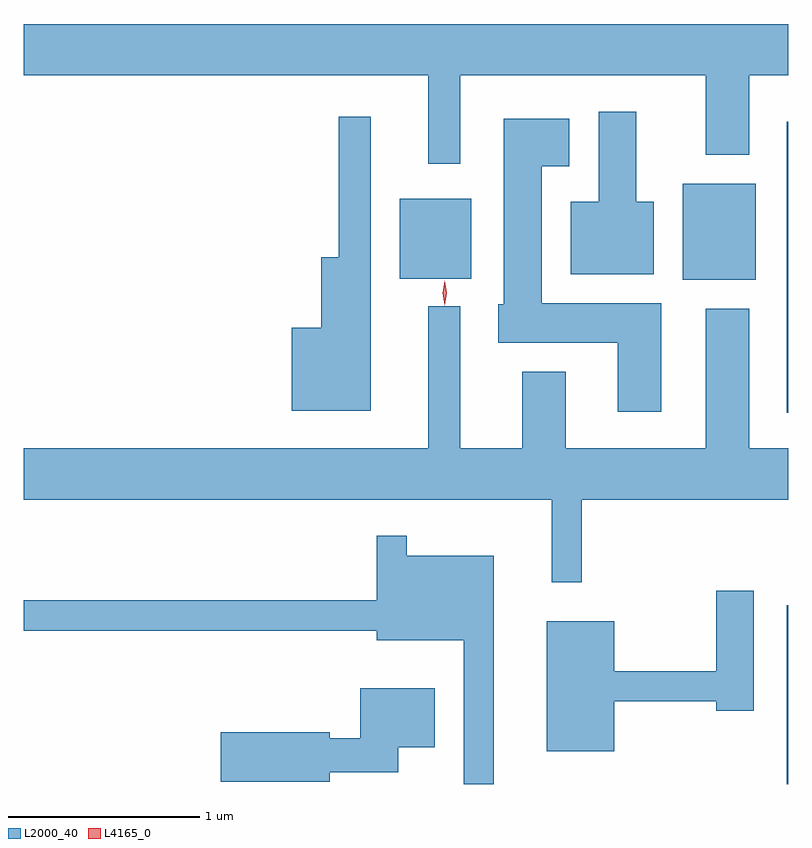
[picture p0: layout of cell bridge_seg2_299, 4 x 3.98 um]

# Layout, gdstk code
import gdstk
lib = gdstk.Library(unit=1e-6, precision=1e-09)
def R(c, l, rs):  # rectangles x0, y0, x1, y1
    for r in rs: c.add(gdstk.rectangle(r[:2], r[2:], *l))
def P(c, l, *ps):  # polygons
    for p in ps: c.add(gdstk.Polygon(p, *l))
L2000_40 = (2000, 40)
L4165_0 = (4165, 0)

bridge_seg2_299 = lib.new_cell('bridge_seg2_299')
R(bridge_seg2_299, L2000_40, [(468.006,1077.909,468.014,1078.844), (468.006,1079.851,468.014,1081.374), (467.461,1080.546,467.844,1081.049), (465.981,1080.551,466.354,1080.969)])
P(bridge_seg2_299, L2000_40, [(466.299,1081.616),(467.581,1081.616),(467.581,1081.201),(467.809,1081.201),(467.809,1081.616),(468.014,1081.616),(468.014,1081.884),(464.014,1081.884),(464.014,1081.616),(466.131,1081.616),(466.131,1081.153),(466.299,1081.153)],
  [(467.309,1080.954),(467.219,1080.954),(467.219,1081.424),(467.021,1081.424),(467.021,1080.954),(466.876,1080.954),(466.876,1080.576),(467.309,1080.576)],
  [(465.829,1081.398),(465.661,1081.398),(465.661,1080.664),(465.571,1080.664),(465.571,1080.294),(465.416,1080.294),(465.416,1079.861),(465.829,1079.861)],
  [(467.349,1080.424),(466.724,1080.424),(466.724,1081.141),(466.869,1081.141),(466.869,1081.389),(466.526,1081.389),(466.526,1080.419),(466.496,1080.419),(466.496,1080.216),(467.121,1080.216),(467.121,1079.856),(467.349,1079.856)],
  [(466.934,1079.396),(468.014,1079.396),(468.014,1079.664),(467.809,1079.664),(467.809,1080.394),(467.581,1080.394),(467.581,1079.664),(466.849,1079.664),(466.849,1080.064),(466.621,1080.064),(466.621,1079.664),(466.299,1079.664),(466.299,1080.408),(466.131,1080.408),(466.131,1079.664),(464.014,1079.664),(464.014,1079.396),(466.776,1079.396),(466.776,1078.963),(466.934,1078.963)],
  [(466.474,1079.104),(466.019,1079.104),(466.019,1079.208),(465.861,1079.208),(465.861,1078.869),(464.014,1078.869),(464.014,1078.711),(465.861,1078.711),(465.861,1078.661),(466.316,1078.661),(466.316,1077.909),(466.474,1077.909)],
  [(467.104,1078.341),(467.636,1078.341),(467.636,1078.291),(467.834,1078.291),(467.834,1078.919),(467.636,1078.919),(467.636,1078.499),(467.104,1078.499),(467.104,1078.759),(466.751,1078.759),(466.751,1078.081),(467.104,1078.081)],
  [(465.614,1077.971),(465.974,1077.971),(465.974,1078.101),(466.164,1078.101),(466.164,1078.409),(465.776,1078.409),(465.776,1078.149),(465.614,1078.149),(465.614,1078.179),(465.046,1078.179),(465.046,1077.921),(465.614,1077.921)])
P(bridge_seg2_299, L4165_0, [(466.216,1080.413),(466.207,1080.477),(466.216,1080.541),(466.217,1080.542),(466.217,1080.541),(466.227,1080.477),(466.217,1080.413),(466.217,1080.413)])

lib.write_gds('bridge_seg2_299.gds')
